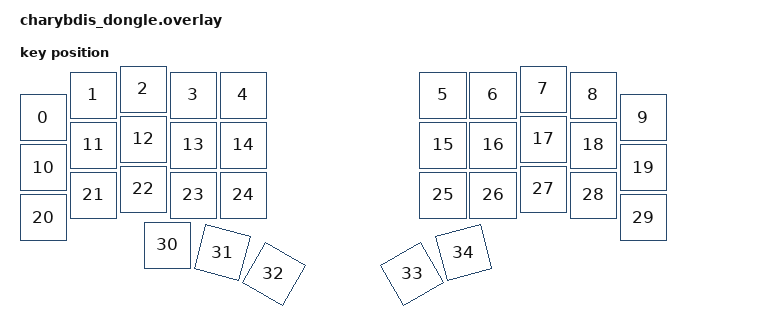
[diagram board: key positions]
#include "charybdis.dtsi"

&charybdis_5col_layout {
    transform = <&five_column_transform>;
};

/ {
    chosen {
        zmk,kscan = &mock_kscan;
        zmk,physical-layout = &charybdis_5col_layout;
    };

    mock_kscan: kscan_1 {
        compatible = "zmk,kscan-mock";
        columns = <0>;
        rows = <0>;
        events = <0>;
    };


    charybdis_5col_layout: charybdis_5col_layout{
        compatible = "zmk,physical-layout";
        display-name = "5-column";

        transform = <&five_column_transform>;

        keys  //                     w   h    x    y     rot    rx    ry
        = <&key_physical_attrs 100 100    0   57       0     0     0>
        , <&key_physical_attrs 100 100  100   12       0     0     0>
        , <&key_physical_attrs 100 100  200    0       0     0     0>
        , <&key_physical_attrs 100 100  300   12       0     0     0>
        , <&key_physical_attrs 100 100  400   12       0     0     0>
        , <&key_physical_attrs 100 100  800   12       0     0     0>
        , <&key_physical_attrs 100 100  900   12       0     0     0>
        , <&key_physical_attrs 100 100 1000    0       0     0     0>
        , <&key_physical_attrs 100 100 1100   12       0     0     0>
        , <&key_physical_attrs 100 100 1200   57       0     0     0>
        , <&key_physical_attrs 100 100    0  157       0     0     0>
        , <&key_physical_attrs 100 100  100  112       0     0     0>
        , <&key_physical_attrs 100 100  200  100       0     0     0>
        , <&key_physical_attrs 100 100  300  112       0     0     0>
        , <&key_physical_attrs 100 100  400  112       0     0     0>
        , <&key_physical_attrs 100 100  800  112       0     0     0>
        , <&key_physical_attrs 100 100  900  112       0     0     0>
        , <&key_physical_attrs 100 100 1000  100       0     0     0>
        , <&key_physical_attrs 100 100 1100  112       0     0     0>
        , <&key_physical_attrs 100 100 1200  157       0     0     0>
        , <&key_physical_attrs 100 100    0  257       0     0     0>
        , <&key_physical_attrs 100 100  100  212       0     0     0>
        , <&key_physical_attrs 100 100  200  200       0     0     0>
        , <&key_physical_attrs 100 100  300  212       0     0     0>
        , <&key_physical_attrs 100 100  400  212       0     0     0>
        , <&key_physical_attrs 100 100  800  212       0     0     0>
        , <&key_physical_attrs 100 100  900  212       0     0     0>
        , <&key_physical_attrs 100 100 1000  200       0     0     0>
        , <&key_physical_attrs 100 100 1100  212       0     0     0>
        , <&key_physical_attrs 100 100 1200  257       0     0     0>
        , <&key_physical_attrs 100 100  248  312       0     0     0>
        , <&key_physical_attrs 100 100  248  312    1500   298   789>
        , <&key_physical_attrs 100 100  248  312    3000   298   789>
        , <&key_physical_attrs 100 100  952  312 (-3000)  1002   789>
        , <&key_physical_attrs 100 100  952  312 (-1500)  1002   789>
        ;
    };
};


